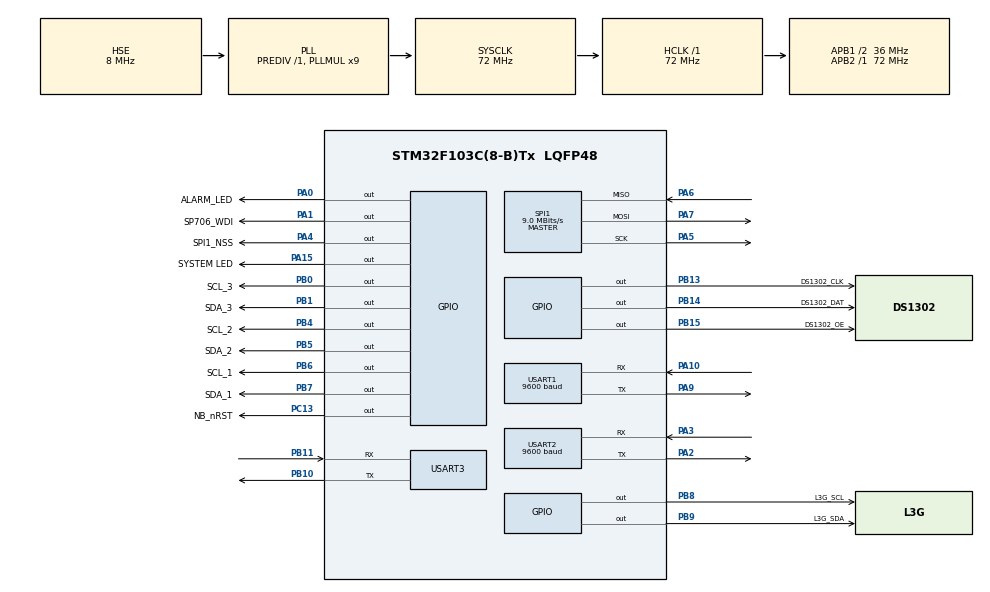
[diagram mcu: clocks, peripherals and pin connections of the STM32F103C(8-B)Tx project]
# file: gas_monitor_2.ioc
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FREERTOS.Tasks01=defaultTask,-2,128,StartDefaultTask,Default,NULL,Dynamic,NULL,NULL
FREERTOS.configTOTAL_HEAP_SIZE=6000
FREERTOS.configUSE_NEWLIB_REENTRANT=1
Mcu.Family=STM32F1
Mcu.Name=STM32F103C(8-B)Tx
Mcu.Package=LQFP48
NVIC.PriorityGroup=NVIC_PRIORITYGROUP_4
NVIC.TIM1_UP_IRQn=true\:15\:0\:false\:false\:true\:false\:false\:true\:true
NVIC.TIM3_IRQn=true\:5\:0\:false\:false\:true\:true\:true\:true\:true
NVIC.TimeBase=TIM1_UP_IRQn
NVIC.TimeBaseIP=TIM1
NVIC.USART1_IRQn=true\:10\:0\:true\:false\:true\:true\:true\:true\:true
NVIC.USART2_IRQn=true\:10\:0\:true\:false\:true\:true\:true\:true\:true
PA0-WKUP.GPIO_Label=ALARM_LED
PA0-WKUP.Signal=GPIO_Output
PA1.GPIO_Label=SP706_WDI
PA1.Signal=GPIO_Output
PA10.Mode=Asynchronous
PA10.Signal=USART1_RX
PA13.Mode=Serial_Wire
PA13.Signal=SYS_JTMS-SWDIO
PA14.Mode=Serial_Wire
PA14.Signal=SYS_JTCK-SWCLK
PA15.GPIO_Label=SYSTEM LED
PA15.Signal=GPIO_Output
PA2.Mode=Asynchronous
PA2.Signal=USART2_TX
PA3.Mode=Asynchronous
PA3.Signal=USART2_RX
PA4.GPIO_Label=SPI1_NSS
PA4.PinState=GPIO_PIN_SET
PA4.Signal=GPIO_Output
PA5.Mode=Full_Duplex_Master
PA5.Signal=SPI1_SCK
PA6.Mode=Full_Duplex_Master
PA6.Signal=SPI1_MISO
PA7.Mode=Full_Duplex_Master
PA7.Signal=SPI1_MOSI
PA9.Mode=Asynchronous
PA9.Signal=USART1_TX
PB0.GPIO_Label=SCL_3
PB0.GPIO_ModeDefaultOutputPP=GPIO_MODE_OUTPUT_PP
PB0.GPIO_PuPd=GPIO_NOPULL
PB0.GPIO_Speed=GPIO_SPEED_FREQ_HIGH
PB0.Signal=GPIO_Output
PB1.GPIO_Label=SDA_3
PB1.GPIO_ModeDefaultOutputPP=GPIO_MODE_OUTPUT_OD
PB1.GPIO_PuPd=GPIO_NOPULL
PB1.GPIO_Speed=GPIO_SPEED_FREQ_HIGH
PB1.Signal=GPIO_Output
PB10.Mode=Asynchronous
PB10.Signal=USART3_TX
PB11.Mode=Asynchronous
PB11.Signal=USART3_RX
PB13.GPIO_Label=DS1302_CLK
PB13.GPIO_Speed=GPIO_SPEED_FREQ_HIGH
PB13.Signal=GPIO_Output
PB14.GPIO_Label=DS1302_DAT
PB14.GPIO_Speed=GPIO_SPEED_FREQ_HIGH
PB14.Signal=GPIO_Output
PB15.GPIO_Label=DS1302_OE
PB15.GPIO_Speed=GPIO_SPEED_FREQ_HIGH
PB15.Signal=GPIO_Output
PB4.GPIO_Label=SCL_2
PB4.GPIO_ModeDefaultOutputPP=GPIO_MODE_OUTPUT_PP
PB4.GPIO_PuPd=GPIO_NOPULL
PB4.GPIO_Speed=GPIO_SPEED_FREQ_HIGH
PB4.PinState=GPIO_PIN_SET
PB4.Signal=GPIO_Output
PB5.GPIO_Label=SDA_2
PB5.GPIO_ModeDefaultOutputPP=GPIO_MODE_OUTPUT_OD
PB5.GPIO_PuPd=GPIO_NOPULL
PB5.GPIO_Speed=GPIO_SPEED_FREQ_HIGH
PB5.PinState=GPIO_PIN_SET
PB5.Signal=GPIO_Output
PB6.GPIO_Label=SCL_1
PB6.GPIO_Speed=GPIO_SPEED_FREQ_HIGH
PB6.PinState=GPIO_PIN_SET
PB6.Signal=GPIO_Output
PB7.GPIO_Label=SDA_1
PB7.GPIO_ModeDefaultOutputPP=GPIO_MODE_OUTPUT_OD
PB7.GPIO_PuPd=GPIO_NOPULL
PB7.GPIO_Speed=GPIO_SPEED_FREQ_HIGH
PB7.PinState=GPIO_PIN_SET
PB7.Signal=GPIO_Output
PB8.GPIO_Label=L3G_SCL
PB8.GPIO_Speed=GPIO_SPEED_FREQ_HIGH
PB8.Signal=GPIO_Output
PB9.GPIO_Label=L3G_SDA
PB9.GPIO_ModeDefaultOutputPP=GPIO_MODE_OUTPUT_OD
PB9.GPIO_PuPd=GPIO_NOPULL
PB9.GPIO_Speed=GPIO_SPEED_FREQ_HIGH
PB9.Signal=GPIO_Output
PC13-TAMPER-RTC.GPIO_Label=NB_nRST
PC13-TAMPER-RTC.PinState=GPIO_PIN_SET
PC13-TAMPER-RTC.Signal=GPIO_Output
PD0-OSC_IN.Mode=HSE-External-Oscillator
PD0-OSC_IN.Signal=RCC_OSC_IN
PD1-OSC_OUT.Mode=HSE-External-Oscillator
PD1-OSC_OUT.Signal=RCC_OSC_OUT
ProjectManager.HeapSize=0x200
ProjectManager.StackSize=0x400
ProjectManager.TargetToolchain=STM32CubeIDE
RCC.AHBFreq_Value=72000000
RCC.APB1CLKDivider=RCC_HCLK_DIV2
RCC.APB1Freq_Value=36000000
RCC.APB1TimFreq_Value=72000000
RCC.APB2Freq_Value=72000000
RCC.APB2TimFreq_Value=72000000
RCC.HCLKFreq_Value=72000000
RCC.PLLMUL=RCC_PLL_MUL9
RCC.PLLSourceVirtual=RCC_PLLSOURCE_HSE
RCC.SYSCLKFreq_VALUE=72000000
RCC.SYSCLKSource=RCC_SYSCLKSOURCE_PLLCLK
RCC.USBFreq_Value=72000000
SPI1.BaudRatePrescaler=SPI_BAUDRATEPRESCALER_8
SPI1.CalculateBaudRate=9.0 MBits/s
SPI1.Direction=SPI_DIRECTION_2LINES
SPI1.Mode=SPI_MODE_MASTER
SPI1.VirtualType=VM_MASTER
TIM3.Period=9999
TIM3.Prescaler=7199
USART1.BaudRate=9600
USART1.VirtualMode=VM_ASYNC
USART2.BaudRate=9600
USART2.VirtualMode=VM_ASYNC
USART3.VirtualMode=VM_ASYNC
VP_CRC_VS_CRC.Mode=CRC_Activate
VP_FREERTOS_VS_CMSIS_V1.Mode=CMSIS_V1
VP_SYS_VS_tim1.Mode=TIM1
VP_TIM3_VS_ClockSourceINT.Mode=Internal
board=custom

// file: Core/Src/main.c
/* USER CODE BEGIN Header */
/**
  ******************************************************************************
  * @file           : main.c
  * @brief          : Main program body
  ******************************************************************************
  * @attention
  *
  * Copyright (c) 2022 STMicroelectronics.
  * All rights reserved.
  *
  * This software is licensed under terms that can be found in the LICENSE file
  * in the root directory of this software component.
  * If no LICENSE file comes with this software, it is provided AS-IS.
  *
  ******************************************************************************
  */
/* USER CODE END Header */
#include "main.h"
#include "cmsis_os.h"
#include "crc.h"
#include "spi.h"
#include "tim.h"
#include "usart.h"
#include "gpio.h"

/* USER CODE BEGIN Includes */
#include <stdio.h>
#include "board.h"
/* USER CODE END Includes */

void SystemClock_Config(void);
void MX_FREERTOS_Init(void);
/* USER CODE BEGIN PFP */
extern void AT_Client_Task( void *pvParameters );
extern void Ranqi_Rx_Task( void *pvParameters );
extern void Ranqi_Tx_Task( void *pvParameters );

/* USER CODE END PFP */

int main(void)
{

  /* MCU Configuration--------------------------------------------------------*/

  /* Reset of all peripherals, Initializes the Flash interface and the Systick. */
  HAL_Init();

  /* Configure the system clock */
  SystemClock_Config();

  /* Initialize all configured peripherals */
  MX_GPIO_Init();
  MX_USART3_UART_Init();
  MX_TIM3_Init();
  MX_SPI1_Init();
  MX_USART2_UART_Init();
  MX_USART1_UART_Init();
  MX_CRC_Init();

  /* USER CODE BEGIN 2 */

  BaseType_t ret;
  board_init();  // 各种驱动初始化
  // TODO        // 业务初始化

  // 启动业务线程
 extern void mem_info(void);

 /*                              字节
	Total_mem:6000 freeMem:4752  4752
	Total_mem:6000 freeMem:3296  3296
	Total_mem:6000 freeMem:2384  2384

    Total_mem:6000 freeMem:2032  1880

	                                字
	Ranqi_Tx_Task   X       3       122     2
	IDLE            R       0       108     4
	Ranqi_Rx_Task   B       4       107     3
	AT_Client_Task  B       5       107     1
  * */

  // 0-6
  ret = xTaskCreate(AT_Client_Task, "AT_Client_Task", 256, NULL, 5, NULL);
  printf("AT_Client_Task  %d\r\n", ret);
  mem_info();
  ret = xTaskCreate(Ranqi_Tx_Task, "Ranqi_Tx_Task", 312, NULL, 3, NULL );
  printf("Ranqi_Tx_Task  %d\r\n", ret);
  mem_info();
  ret = xTaskCreate(Ranqi_Rx_Task, "Ranqi_Rx_Task", 176, NULL, 4, NULL );
  printf("Ranqi_Rx_Task  %d\r\n", ret);
  mem_info();

  /* 启动调度器，任务开始执行 */
  vTaskStartScheduler();

  /* USER CODE END 2 */

  /* Call init function for freertos objects (in freertos.c) */
//  MX_FREERTOS_Init();

  /* Start scheduler */
//  osKernelStart();

  /* We should never get here as control is now taken by the scheduler */
  /* Infinite loop */
  while (1)
  {

  }
}

void SystemClock_Config(void)
{
  RCC_OscInitTypeDef RCC_OscInitStruct = {0};
  RCC_ClkInitTypeDef RCC_ClkInitStruct = {0};

  /** Initializes the RCC Oscillators according to the specified parameters
  * in the RCC_OscInitTypeDef structure.
  */
  RCC_OscInitStruct.OscillatorType = RCC_OSCILLATORTYPE_HSE;
  RCC_OscInitStruct.HSEState = RCC_HSE_ON;
  RCC_OscInitStruct.HSEPredivValue = RCC_HSE_PREDIV_DIV1;
  RCC_OscInitStruct.HSIState = RCC_HSI_ON;
  RCC_OscInitStruct.PLL.PLLState = RCC_PLL_ON;
  RCC_OscInitStruct.PLL.PLLSource = RCC_PLLSOURCE_HSE;
  RCC_OscInitStruct.PLL.PLLMUL = RCC_PLL_MUL9;
  if (HAL_RCC_OscConfig(&RCC_OscInitStruct) != HAL_OK)
  {
    Error_Handler();
  }

  /** Initializes the CPU, AHB and APB buses clocks
  */
  RCC_ClkInitStruct.ClockType = RCC_CLOCKTYPE_HCLK|RCC_CLOCKTYPE_SYSCLK
                              |RCC_CLOCKTYPE_PCLK1|RCC_CLOCKTYPE_PCLK2;
  RCC_ClkInitStruct.SYSCLKSource = RCC_SYSCLKSOURCE_PLLCLK;
  RCC_ClkInitStruct.AHBCLKDivider = RCC_SYSCLK_DIV1;
  RCC_ClkInitStruct.APB1CLKDivider = RCC_HCLK_DIV2;
  RCC_ClkInitStruct.APB2CLKDivider = RCC_HCLK_DIV1;

  if (HAL_RCC_ClockConfig(&RCC_ClkInitStruct, FLASH_LATENCY_2) != HAL_OK)
  {
    Error_Handler();
  }
}

void HAL_TIM_PeriodElapsedCallback(TIM_HandleTypeDef *htim)
{
  if (htim->Instance == TIM1) {
    HAL_IncTick();
  }
}

void Error_Handler(void)
{
  __disable_irq();
  while (1)
  {
  }
}

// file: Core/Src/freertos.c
/* USER CODE BEGIN Header */
/**
  ******************************************************************************
  * File Name          : freertos.c
  * Description        : Code for freertos applications
  ******************************************************************************
  * @attention
  *
  * Copyright (c) 2022 STMicroelectronics.
  * All rights reserved.
  *
  * This software is licensed under terms that can be found in the LICENSE file
  * in the root directory of this software component.
  * If no LICENSE file comes with this software, it is provided AS-IS.
  *
  ******************************************************************************
  */
/* USER CODE END Header */

#include "FreeRTOS.h"
#include "task.h"
#include "main.h"
#include "cmsis_os.h"

osThreadId defaultTaskHandle;

void StartDefaultTask(void const * argument);

void MX_FREERTOS_Init(void); /* (MISRA C 2004 rule 8.1) */

/* GetIdleTaskMemory prototype (linked to static allocation support) */
void vApplicationGetIdleTaskMemory( StaticTask_t **ppxIdleTaskTCBBuffer, StackType_t **ppxIdleTaskStackBuffer, uint32_t *pulIdleTaskStackSize );

/* USER CODE BEGIN GET_IDLE_TASK_MEMORY */
static StaticTask_t xIdleTaskTCBBuffer;
static StackType_t xIdleStack[configMINIMAL_STACK_SIZE];

void vApplicationGetIdleTaskMemory( StaticTask_t **ppxIdleTaskTCBBuffer, StackType_t **ppxIdleTaskStackBuffer, uint32_t *pulIdleTaskStackSize )
{
  *ppxIdleTaskTCBBuffer = &xIdleTaskTCBBuffer;
  *ppxIdleTaskStackBuffer = &xIdleStack[0];
  *pulIdleTaskStackSize = configMINIMAL_STACK_SIZE;
  /* place for user code */
}
/* USER CODE END GET_IDLE_TASK_MEMORY */

void MX_FREERTOS_Init(void) {

  /* Create the thread(s) */
  /* definition and creation of defaultTask */
  osThreadDef(defaultTask, StartDefaultTask, osPriorityLow, 0, 128);
  defaultTaskHandle = osThreadCreate(osThread(defaultTask), NULL);

}

void StartDefaultTask(void const * argument)
{
  /* USER CODE BEGIN StartDefaultTask */

  /* Infinite loop */
  for(;;)
  {
    osDelay(1000000);
  }
  /* USER CODE END StartDefaultTask */
}
